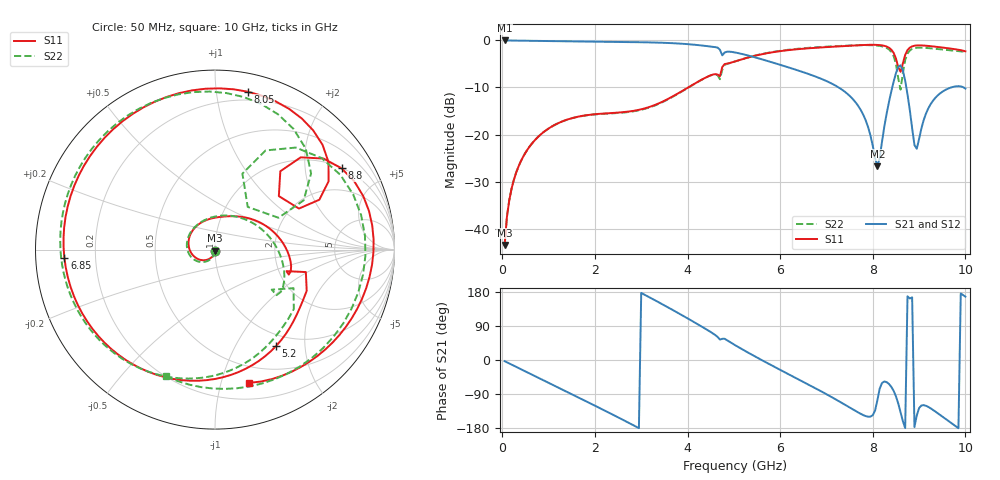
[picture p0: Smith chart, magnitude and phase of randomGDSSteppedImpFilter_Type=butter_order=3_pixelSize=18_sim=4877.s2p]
! freq	dB(S11)	phase(S11)	dB(S12)	phase(S12)
!  dB(S21)	phase(S21)	dB(S22)	phase(S22)
!S-par simulation data
#  GHz  S  DB  R 50
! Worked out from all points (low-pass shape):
!   200 points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, 50 MHz to 10 GHz, reference 50 ohm
!   highest |S21| = 0.00 dB at 50 MHz (marker M1); lowest = -26.7 dB at 8.1 GHz (marker M2)
!   |S21| within 3 dB of the highest: start of sweep to 4.743 GHz; 4.764 GHz to 5.23 GHz (465.8 MHz wide, 9.32 % of centre)
!   lowest |S11| = -43.5 dB at 50 MHz (marker M3), VSWR 1.01, Z = 50 - j0.67 ohm
!   |S11| at or under -10 dB: start of sweep to 4.012 GHz
!   |S22| runs from -43.7 to -1.0 dB; largest |S21 - S12| = 0
!   S11 on the Smith chart (normalised r, x): 50 MHz: 1.00, -0.01; 5.2 GHz: 0.83, -1.49; 6.85 GHz: 0.09, -0.03; 8.05 GHz: 0.13, +1.22; 8.8 GHz: 1.02, +3.10; 10 GHz: 0.34, -1.23
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0.05  -43.48 -89.6  -0.00 -3.1  -0.00 -3.1  -43.73 -89.8
0.2  -31.53 -102.8  -0.02 -12.1  -0.02 -12.1  -31.50 -100.6
0.5  -23.87 -123.5  -0.06 -30.2  -0.06 -30.2  -23.86 -117.8
1.75  -15.99 154.3  -0.23 -105.3  -0.23 -105.3  -16.03 173.2
2.65  -15.21 99.1  -0.33 -160.7  -0.33 -160.7  -15.30 117.2
3.4  -13.29 59.1  -0.48 150.8  -0.48 150.8  -13.39 60.1
4.2  -8.91 11.8  -0.96 95.8  -0.96 95.8  -8.95 -2.4
5.05  -4.39 -46.4  -2.60 37.5  -2.60 37.5  -4.38 -59.7
5.2  -3.94 -57.5  -2.93 26.9  -2.93 26.9  -3.92 -70.0
5.95  -2.34 -111.3  -5.03 -22.8  -5.03 -22.8  -2.28 -116.3
6.7  -1.61 -165.5  -7.44 -70.5  -7.44 -70.5  -1.51 -159.4
6.85  -1.51 -176.8  -8.00 -80.3  -8.00 -80.3  -1.41 -168.3
7.5  -1.13 130.2  -11.77 -125.3  -11.77 -125.3  -1.08 148.4
8.05  -0.93 78.3  -25.03 -133.3  -25.03 -133.3  -1.05 97.8
8.1  -0.95 73.1  -26.72 -105.9  -26.72 -105.9  -1.10 92.0
8.35  -1.55 44.3  -13.07 -63.3  -13.07 -63.3  -1.92 56.9
8.5  -3.82 25.5  -6.96 -95.7  -6.96 -95.7  -4.96 29.1
8.6  -6.67 39.9  -5.28 -138.1  -5.28 -138.1  -10.47 52.6
8.8  -1.53 32.7  -14.84 162.3  -14.84 162.3  -2.13 40.7
8.95  -1.07 14.1  -23.02 -146.5  -23.02 -146.5  -1.55 13.2
9.4  -1.38 -26.6  -11.71 -140.2  -11.71 -140.2  -1.83 -48.4
10  -2.31 -75.7  -10.23 167.2  -10.23 167.2  -2.42 -111.1
